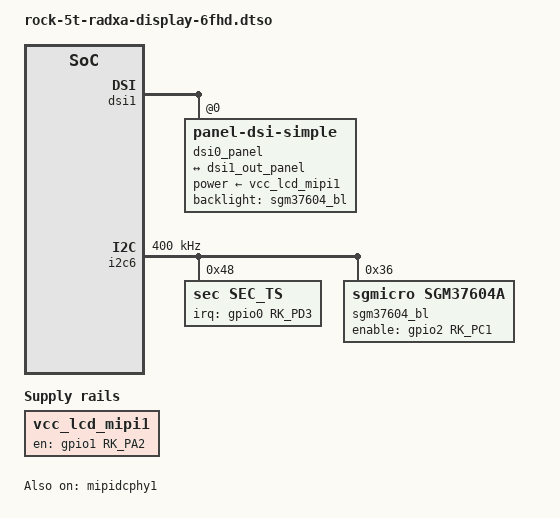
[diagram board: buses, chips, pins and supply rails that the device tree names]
/dts-v1/;
/plugin/;

#include <dt-bindings/gpio/gpio.h>
#include <dt-bindings/interrupt-controller/irq.h>
#include <dt-bindings/pinctrl/rockchip.h>
#include <dt-bindings/soc/rockchip,vop2.h>
#include <dt-bindings/display/drm_mipi_dsi.h>

/ {
	compatible = "radxa,rock-5t";
};

&{/} {
	vcc_lcd_mipi1: vcc-lcd-mipi0 {
		status = "okay";
		compatible = "regulator-fixed";
		regulator-name = "vcc_lcd_mipi1";
		gpio = <&gpio1 RK_PA2 GPIO_ACTIVE_HIGH>;
		enable-active-high;
		regulator-boot-on;
		regulator-always-on;
		regulator-state-mem {
			regulator-off-in-suspend;
		};
	};
};

&dsi1 {
	status = "okay";
	#address-cells = <1>;
	#size-cells = <0>;

	dsi0_panel: panel@0 {
		status = "okay";
		compatible = "panel-dsi-simple";
		reg = <0>;
		backlight = <&sgm37604_bl>;
		power-supply = <&vcc_lcd_mipi1>;
		// reset-gpios = <&gpio0 RK_PC6 GPIO_ACTIVE_LOW>;
		// pinctrl-names = "default";
		// pinctrl-0 = <&dsi1_lcd_rst_gpio>;

		prepare-delay-ms = <120>;
		reset-delay-ms = <120>;
		init-delay-ms = <120>;
		enable-delay-ms = <100>;
		disable-delay-ms = <120>;
		unprepare-delay-ms = <120>;

		width-mm = <74>;
		height-mm = <133>;

		dsi,flags = <(MIPI_DSI_MODE_VIDEO | MIPI_DSI_MODE_VIDEO_BURST | MIPI_DSI_MODE_LPM | MIPI_DSI_MODE_NO_EOT_PACKET)>;
		dsi,format = <MIPI_DSI_FMT_RGB888>;
		dsi,lanes = <4>;

		// panel-init-sequence = [
		// 	05 78 01 11
		// 	05 0A 01 29
		// ];

		// panel-exit-sequence = [
		// 	05 10 01 28
		// 	05 78 01 10
		// ];

		panel-init-sequence = [
			39 00 03 9f a5 a5
			05 78 01 11
			15 00 02 55 10
			39 00 03 f0 5a 5a
			15 00 02 73 94
			39 00 3d ea 00
						73 11 1b 23 2a 40 59 70 6e a1 86 92 9f ab b8 4d 59 65 7f 00
								73 11 1b 23 2a 40 59 70 6e a1 86 92 9f ab b8 4d 59 65 7f 00
								73 11 1b 23 2a 40 59 70 6e a1 86 92 9f ab b8 4d 59 65 7f
			39 00 3d eb 00
						73 11 1b 23 2a 40 59 70 6e a1 86 92 9f ab b8 4d 59 65 7f 00
						73 11 1b 23 2a 40 59 70 6e a1 86 92 9f ab b8 4d 59 65 7f 00
						73 11 1b 23 2a 40 59 70 6e a1 86 92 9f ab b8 4d 59 65 7f
			39 00 03 f0 a5 a5
			05 00 01 29
			39 00 03 9f 5a 5a
		];

		panel-exit-sequence = [
			05 00 01 28
			05 50 01 10
			39 00 03 f0 5a 5a
			15 00 02 73 90
			39 00 03 f0 a5 a5
			15 00 02 24 00
			39 00 03 9f 5a 5a
		];

		display-timings {
			native-mode = <&timing0>;

			timing0: timing0 {
				clock-frequency = <157000000>;
				hactive = <1080>;
				hfront-porch = <115>;
				hback-porch = <13>;
				hsync-len = <3>;
				vactive = <2160>;
				vfront-porch = <10>;
				vback-porch = <10>;
				vsync-len = <2>;
				hsync-active = <0>;
				vsync-active = <0>;
				de-active = <0>;
				pixelclk-active = <0>;
			};
		};

		port {
			mipi_panel_in: endpoint {
				remote-endpoint = <&dsi1_out_panel>;
			};
		};
	};
};

&dsi1_in {
	dsi1_in_vp3: endpoint {
		remote-endpoint = <&vp3_out_dsi1>;
	};
};

&dsi1_out {
	dsi1_out_panel: endpoint {
		remote-endpoint = <&mipi_panel_in>;
	};
};

&mipidcphy1 {
	// compatible = "rockchip,rk3588-mipi-dcphy2";
	status = "okay";
};

&vp3 {
	#address-cells = <1>;
	#size-cells = <0>;

	vp3_out_dsi1: endpoint@ROCKCHIP_VOP2_EP_MIPI1 {
		reg = <ROCKCHIP_VOP2_EP_MIPI1>;
		remote-endpoint = <&dsi1_in_vp3>;
	};
};

&i2c6 {
	status = "okay";
	pinctrl-names = "default";
	pinctrl-0 = <&i2c6m0_xfer>;
	clock-frequency = <400000>;
	#address-cells = <1>;
	#size-cells = <0>;

	sec_ts: sec_ts@48 {
		status = "okay";
		compatible = "sec,sec_ts";
		reg = <0x48>;
		pinctrl-names = "default";
		pinctrl-0 = <&ts_irq>;
		sec,irq_gpio = <&gpio0 RK_PD3 IRQ_TYPE_LEVEL_HIGH>;
		sec,max_coords = <1080>, <2160>;
		touchscreen-inverted-x = <1>;
		touchscreen-inverted-y = <1>;
	};

	sgm37604_bl: backlight@36 {
		status = "okay";
		compatible = "sgmicro,sgm37604a";
		reg = <0x36>;
		sgmicro,led-channels = <0x07>;
		sgmicro,max-current = <0>;
		default-brightness-level = <48>;
		enable-gpios = <&gpio2 RK_PC1 GPIO_ACTIVE_HIGH>;
	};
};

&pinctrl {
	dsi1-lcd {
		dsi1_lcd_rst_gpio: dsi0-lcd-rst-gpio {
			rockchip,pins = <0 RK_PC6 RK_FUNC_GPIO &pcfg_pull_up>;
		};
	};

	ts {
		ts_irq: ts_irq {
			rockchip,pins =
			<0 RK_PD3 RK_FUNC_GPIO &pcfg_pull_up>;//TP_INT_L
		};
	};
};
